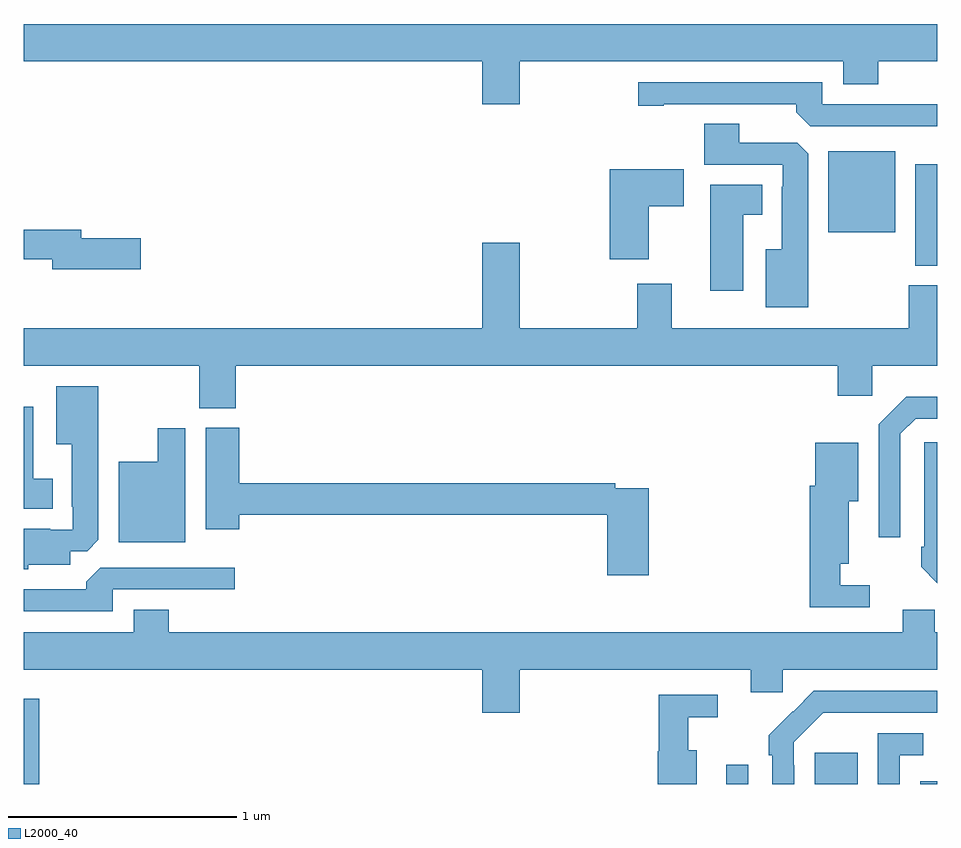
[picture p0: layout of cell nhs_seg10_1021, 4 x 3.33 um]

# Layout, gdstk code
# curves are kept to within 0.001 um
import gdstk
lib = gdstk.Library(unit=1e-6, precision=1e-09)
def R(c, l, rs):  # rectangles x0, y0, x1, y1
    for r in rs: c.add(gdstk.rectangle(r[:2], r[2:], *l))
def P(c, l, *ps):  # polygons
    for p in ps: c.add(gdstk.Polygon(p, *l))
L2000_40 = (2000, 40)

nhs_seg10_1021 = lib.new_cell('nhs_seg10_1021')
R(nhs_seg10_1021, L2000_40, [(163,1282.5,163.067,1282.873), (166.077,1282.5,166.173,1282.585), (166.463,1282.5,166.651,1282.636), (166.926,1282.5,167,1282.513), (166.904,1284.77,167,1285.213), (166.523,1284.917,166.816,1285.27)])
P(nhs_seg10_1021, L2000_40, [(165.172,1285.664),(166.589,1285.664),(166.589,1285.565),(166.742,1285.565),(166.742,1285.664),(167,1285.664),(167,1285.828),(163,1285.828),(163,1285.664),(165.008,1285.664),(165.008,1285.476),(165.172,1285.476)],
  [(167,1285.476),(166.497,1285.476),(166.497,1285.572),(165.69,1285.572),(165.69,1285.471),(165.802,1285.471),(165.802,1285.476),(166.382,1285.476),(166.382,1285.442),(166.443,1285.38),(167,1285.38)],
  [(166.435,1285.259),(166.386,1285.308),(166.132,1285.308),(166.132,1285.391),(165.98,1285.391),(165.98,1285.212),(166.323,1285.212),(166.323,1285.115),(166.319,1285.115),(166.319,1284.841),(166.25,1284.841),(166.25,1284.587),(166.435,1284.587)],
  [(165.736,1285.03),(165.889,1285.03),(165.889,1285.192),(165.566,1285.192),(165.566,1284.797),(165.736,1284.797)],
  [(166.15,1284.992),(166.234,1284.992),(166.234,1285.123),(166.007,1285.123),(166.007,1284.66),(166.15,1284.66)],
  [(163.513,1284.89),(163.252,1284.89),(163.252,1284.926),(163,1284.926),(163,1284.798),(163.124,1284.798),(163.124,1284.755),(163.513,1284.755)],
  [(163,1284.332),(163.768,1284.332),(163.768,1284.145),(163.928,1284.145),(163.928,1284.332),(166.565,1284.332),(166.565,1284.201),(166.716,1284.201),(166.716,1284.332),(167,1284.332),(167,1284.685),(166.876,1284.685),(166.876,1284.496),(165.838,1284.496),(165.838,1284.691),(165.686,1284.691),(165.686,1284.496),(165.172,1284.496),(165.172,1284.871),(165.008,1284.871),(165.008,1284.496),(163,1284.496)],
  [(163.02,1283.459),(163.204,1283.459),(163.204,1283.52),(163.278,1283.52),(163.327,1283.569),(163.327,1284.241),(163.142,1284.241),(163.142,1283.987),(163.211,1283.987),(163.211,1283.713),(163.215,1283.713),(163.215,1283.613),(163.115,1283.613),(163.115,1283.617),(163,1283.617),(163,1283.441),(163.02,1283.441)],
  [(166.839,1284.033),(166.905,1284.099),(167,1284.099),(167,1284.196),(166.864,1284.196),(166.743,1284.075),(166.743,1283.58),(166.839,1283.58)],
  [(163.126,1283.836),(163.042,1283.836),(163.042,1284.151),(163,1284.151),(163,1283.705),(163.126,1283.705)],
  [(165.737,1283.796),(165.59,1283.796),(165.59,1283.816),(163.943,1283.816),(163.943,1284.06),(163.796,1284.06),(163.796,1283.616),(163.943,1283.616),(163.943,1283.68),(165.554,1283.68),(165.554,1283.415),(165.737,1283.415)],
  [(163.708,1284.058),(163.586,1284.058),(163.586,1283.911),(163.415,1283.911),(163.415,1283.558),(163.708,1283.558)],
  [(167,1283.997),(166.944,1283.997),(166.944,1283.539),(166.929,1283.539),(166.929,1283.451),(167,1283.38)],
  [(166.705,1283.37),(166.576,1283.37),(166.576,1283.465),(166.612,1283.465),(166.612,1283.738),(166.654,1283.738),(166.654,1283.995),(166.466,1283.995),(166.466,1283.805),(166.442,1283.805),(166.442,1283.274),(166.705,1283.274)],
  [(163.389,1283.352),(163.924,1283.352),(163.924,1283.448),(163.335,1283.448),(163.274,1283.386),(163.274,1283.352),(163,1283.352),(163,1283.256),(163.389,1283.256)],
  [(165.172,1283),(166.184,1283),(166.184,1282.902),(166.323,1282.902),(166.323,1283),(167,1283),(167,1283.164),(166.989,1283.164),(166.989,1283.262),(166.85,1283.262),(166.85,1283.164),(163.634,1283.164),(163.634,1283.263),(163.481,1283.263),(163.481,1283.164),(163,1283.164),(163,1283),(165.008,1283),(165.008,1282.812),(165.172,1282.812)],
  [(166.374,1282.583),(166.371,1282.583),(166.371,1282.683),(166.5,1282.812),(167,1282.812),(167,1282.908),(166.46,1282.908),(166.263,1282.713),(166.263,1282.625),(166.278,1282.625),(166.278,1282.5),(166.374,1282.5)],
  [(165.946,1282.648),(165.91,1282.648),(165.91,1282.793),(166.039,1282.793),(166.039,1282.89),(165.781,1282.89),(165.781,1282.644),(165.776,1282.644),(165.776,1282.5),(165.946,1282.5)],
  [(166.836,1282.626),(166.939,1282.626),(166.939,1282.722),(166.74,1282.722),(166.74,1282.5),(166.836,1282.5)])

lib.write_gds('nhs_seg10_1021.gds')
